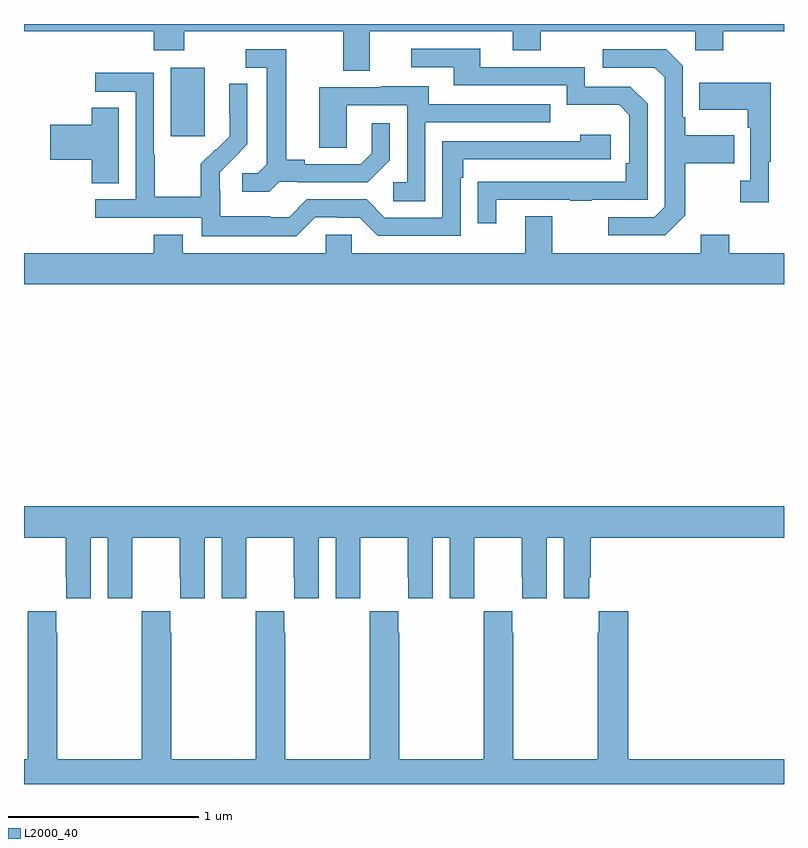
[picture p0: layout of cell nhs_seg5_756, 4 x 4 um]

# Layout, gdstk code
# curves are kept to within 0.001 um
import gdstk
lib = gdstk.Library(unit=1e-6, precision=1e-09)
def R(c, l, rs):  # rectangles x0, y0, x1, y1
    for r in rs: c.add(gdstk.rectangle(r[:2], r[2:], *l))
def P(c, l, *ps):  # polygons
    for p in ps: c.add(gdstk.Polygon(p, *l))
L2000_40 = (2000, 40)

nhs_seg5_756 = lib.new_cell('nhs_seg5_756')
R(nhs_seg5_756, L2000_40, [(159.773,856.209,159.952,856.57)])
P(nhs_seg5_756, L2000_40, [(160.819,856.76),(161.573,856.76),(161.573,856.661),(161.721,856.661),(161.721,856.76),(162.534,856.76),(162.534,856.661),(162.681,856.661),(162.681,856.76),(163,856.76),(163,856.799),(159,856.799),(159,856.76),(159.683,856.76),(159.683,856.661),(159.843,856.661),(159.843,856.76),(160.679,856.76),(160.679,856.552),(160.819,856.552)],
  [(161.485,855.873),(161.875,855.873),(161.875,855.868),(161.987,855.868),(161.987,855.873),(162.282,855.873),(162.282,856.38),(162.192,856.47),(161.952,856.47),(161.952,856.572),(161.401,856.572),(161.401,856.668),(161.037,856.668),(161.037,856.572),(161.261,856.572),(161.261,856.476),(161.856,856.476),(161.856,856.373),(162.133,856.373),(162.186,856.32),(162.186,856.066),(162.166,856.066),(162.166,855.969),(161.389,855.968),(161.389,855.75),(161.485,855.75)],
  [(162.481,855.793),(162.481,856.066),(162.737,856.066),(162.737,856.213),(162.481,856.213),(162.481,856.309),(162.468,856.309),(162.468,856.578),(162.381,856.665),(162.045,856.665),(162.045,856.569),(162.321,856.569),(162.372,856.518),(162.372,855.837),(162.318,855.783),(162.075,855.783),(162.075,855.687),(162.375,855.687)],
  [(160.344,855.969),(160.438,855.969),(160.438,855.966),(160.81,855.966),(160.926,856.082),(160.926,856.276),(160.829,856.276),(160.829,856.119),(160.772,856.062),(160.477,856.062),(160.477,856.085),(160.381,856.085),(160.381,856.665),(160.167,856.665),(160.167,856.569),(160.277,856.569),(160.277,856.061),(160.23,856.014),(160.149,856.014),(160.149,855.917),(160.292,855.917)],
  [(160.533,855.783),(160.649,855.783),(160.649,855.78),(160.767,855.78),(160.863,855.684),(161.298,855.684),(161.298,855.989),(161.311,855.989),(161.311,856.086),(162.088,856.086),(162.088,856.216),(161.927,856.216),(161.927,856.182),(161.202,856.182),(161.202,855.78),(160.899,855.78),(160.803,855.876),(160.488,855.876),(160.395,855.783),(160.295,855.783),(160.295,855.787),(160.032,855.787),(160.032,855.921),(160.03,855.921),(160.03,856.018),(160.176,856.166),(160.176,856.484),(160.08,856.484),(160.08,856.33),(160.082,856.33),(160.082,856.208),(160.011,856.137),(160.008,856.14),(159.931,856.063),(159.931,855.889),(159.687,855.889),(159.687,856.112),(159.684,856.112),(159.684,856.542),(159.375,856.542),(159.375,856.443),(159.588,856.443),(159.588,855.876),(159.375,855.876),(159.375,855.78),(159.936,855.78),(159.936,855.683),(160.433,855.683)],
  [(162.919,856.073),(162.931,856.073),(162.931,856.489),(162.553,856.489),(162.553,856.349),(162.81,856.349),(162.81,856.253),(162.822,856.253),(162.822,855.974),(162.771,855.974),(162.771,855.861),(162.919,855.861)],
  [(161.112,856.281),(161.771,856.281),(161.771,856.377),(161.131,856.377),(161.131,856.471),(160.877,856.471),(160.877,856.467),(160.553,856.467),(160.553,856.147),(160.698,856.147),(160.698,856.371),(161.016,856.371),(161.016,855.966),(160.944,855.966),(160.944,855.865),(161.112,855.865)],
  [(159.499,856.358),(159.356,856.358),(159.356,856.268),(159.138,856.268),(159.138,856.085),(159.356,856.085),(159.356,855.961),(159.499,855.961)],
  [(163,855.592),(162.711,855.592),(162.711,855.691),(162.563,855.691),(162.563,855.592),(161.779,855.592),(161.779,855.787),(161.639,855.787),(161.639,855.592),(160.725,855.592),(160.725,855.69),(160.587,855.69),(160.587,855.592),(159.835,855.592),(159.835,855.691),(159.683,855.691),(159.683,855.592),(159,855.592),(159,855.428),(163,855.428)],
  [(159.352,854.096),(159.44,854.096),(159.44,853.776),(159.57,853.776),(159.57,853.888),(159.571,853.888),(159.571,854.096),(159.821,854.096),(159.821,853.888),(159.822,853.888),(159.822,853.776),(159.952,853.776),(159.952,854.096),(160.04,854.096),(160.04,853.776),(160.17,853.776),(160.17,853.888),(160.171,853.888),(160.171,854.096),(160.421,854.096),(160.421,853.888),(160.422,853.888),(160.422,853.776),(160.552,853.776),(160.552,854.096),(160.64,854.096),(160.64,853.776),(160.77,853.776),(160.77,853.888),(160.771,853.888),(160.771,854.096),(161.021,854.096),(161.021,853.888),(161.022,853.888),(161.022,853.776),(161.152,853.776),(161.152,854.096),(161.24,854.096),(161.24,853.776),(161.37,853.776),(161.37,853.888),(161.371,853.888),(161.371,854.096),(161.621,854.096),(161.621,853.888),(161.622,853.888),(161.622,853.776),(161.752,853.776),(161.752,854.096),(161.84,854.096),(161.84,853.776),(161.974,853.776),(161.974,853.888),(161.984,853.888),(161.984,854.096),(163,854.096),(163,854.26),(159,854.26),(159,854.096),(159.221,854.096),(159.221,853.888),(159.222,853.888),(159.222,853.776),(159.352,853.776)],
  [(163,852.928),(162.179,852.928),(162.179,853.708),(162.025,853.708),(162.025,853.595),(162.019,853.595),(162.019,852.928),(161.574,852.928),(161.574,853.595),(161.571,853.595),(161.571,853.708),(161.421,853.708),(161.421,853.595),(161.419,853.595),(161.419,852.928),(160.974,852.928),(160.974,853.595),(160.971,853.595),(160.971,853.708),(160.821,853.708),(160.821,853.595),(160.819,853.595),(160.819,852.928),(160.374,852.928),(160.374,853.595),(160.371,853.595),(160.371,853.708),(160.221,853.708),(160.221,853.595),(160.219,853.595),(160.219,852.928),(159.774,852.928),(159.774,853.595),(159.771,853.595),(159.771,853.708),(159.621,853.708),(159.621,853.595),(159.619,853.595),(159.619,852.928),(159.174,852.928),(159.174,853.595),(159.171,853.595),(159.171,853.708),(159.021,853.708),(159.021,853.595),(159.019,853.595),(159.019,852.928),(159,852.928),(159,852.799),(163,852.799)])

lib.write_gds('nhs_seg5_756.gds')
